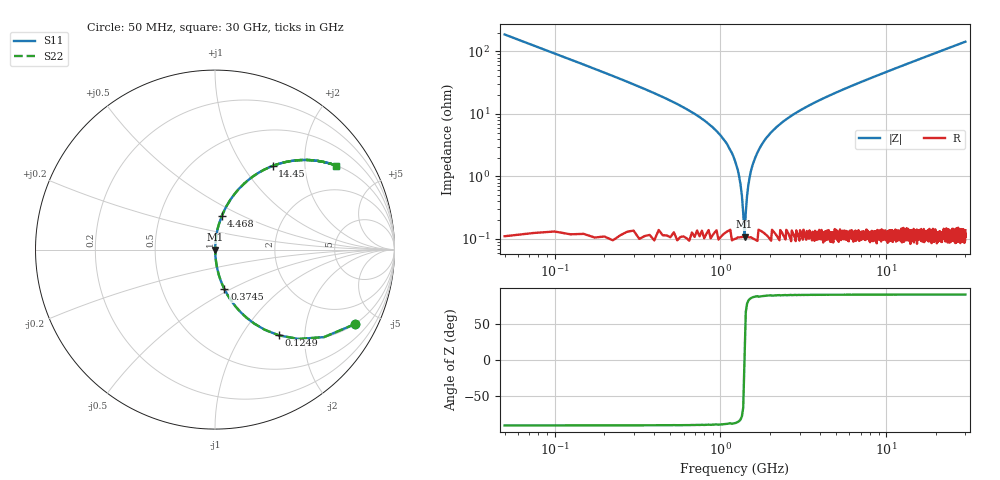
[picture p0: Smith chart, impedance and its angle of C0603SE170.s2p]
!	AVX Thin Film Operation 	Date: April 2014
!	Description: Accu-P® Series, Thin Film  SMD RF Capacitor
!	Part Number: 06035J170FBSTR
# MHZ S MA R 50
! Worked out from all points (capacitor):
!   1201 points, 50 MHz to 30 GHz, reference 50 ohm
!   read as one part in series: C = 17 pF near 199.8 MHz
!   lowest |Z| = 108 mohm at 1.398 GHz (marker M1)
!   series resonance near 1.397 GHz, so ESL is about 760 pH
!   S11 on the Smith chart (normalised r, x): 50 MHz: 1.00, -3.74; 124.9 MHz: 1.00, -1.49; 374.5 MHz: 1.00, -0.46; 4.468 GHz: 1.00, +0.39; 14.45 GHz: 1.00, +1.37; 30 GHz: 1.00, +2.87
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50  0.882 -28.1  0.471 61.8  0.471 61.8  0.882 -28.1
124.875  0.596 -53.3  0.802 36.6  0.802 36.6  0.596 -53.3
249.667  0.341 -69.9  0.939 19.9  0.939 19.9  0.341 -69.9
374.458  0.226 -76.7  0.973 13.1  0.973 13.1  0.226 -76.7
624.042  0.119 -82.6  0.992 6.8  0.992 6.8  0.119 -82.6
1048.333  0.039 -86.1  0.998 2.2  0.998 2.2  0.039 -86.1
1173.125  0.024 -85.8  0.999 1.3  0.999 1.3  0.024 -85.8
1297.917  0.009939 -82.7  0.999 0.6  0.999 0.6  0.009939 -82.7
1397.75  0.00116 2.8  0.999 -0.0  0.999 -0.0  0.00116 2.8
1497.583  0.009371 82.4  0.999 -0.5  0.999 -0.5  0.009371 82.4
1622.375  0.02 85.5  0.999 -1.1  0.999 -1.1  0.02 85.5
1747.167  0.03 86.1  0.998 -1.7  0.998 -1.7  0.03 86.1
2171.458  0.061 85.4  0.997 -3.5  0.997 -3.5  0.061 85.4
3045  0.114 82.9  0.992 -6.6  0.992 -6.6  0.114 82.9
4467.625  0.19 78.7  0.981 -10.9  0.981 -10.9  0.19 78.7
5041.667  0.218 77.1  0.975 -12.6  0.975 -12.6  0.218 77.1
10058.29  0.427 64.6  0.903 -25.3  0.903 -25.3  0.427 64.6
14450.96  0.566 55.5  0.824 -34.4  0.824 -34.4  0.566 55.5
15025  0.581 54.4  0.813 -35.5  0.813 -35.5  0.581 54.4
20016.67  0.69 46.3  0.723 -43.7  0.723 -43.7  0.69 46.3
25033.29  0.767 39.9  0.641 -50.1  0.641 -50.1  0.767 39.9
30000  0.82 34.8  0.571 -55.1  0.571 -55.1  0.82 34.8
